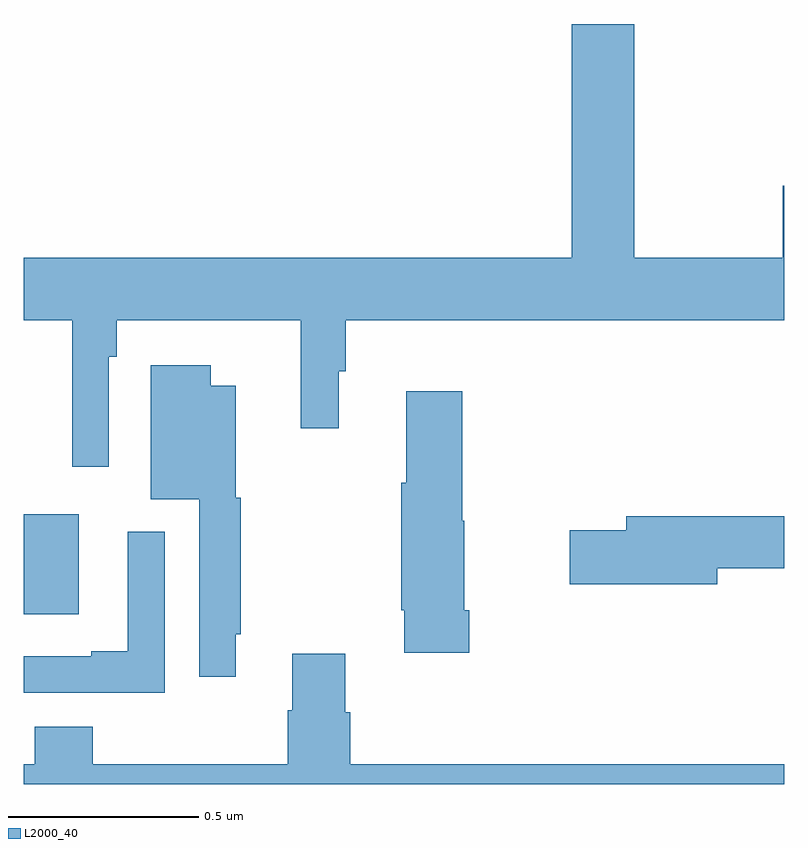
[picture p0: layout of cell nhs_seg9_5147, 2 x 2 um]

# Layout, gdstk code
import gdstk
lib = gdstk.Library(unit=1e-6, precision=1e-09)
def R(c, l, rs):  # rectangles x0, y0, x1, y1
    for r in rs: c.add(gdstk.rectangle(r[:2], r[2:], *l))
def P(c, l, *ps):  # polygons
    for p in ps: c.add(gdstk.Polygon(p, *l))
L2000_40 = (2000, 40)

nhs_seg9_5147 = lib.new_cell('nhs_seg9_5147')
R(nhs_seg9_5147, L2000_40, [(175,1228.946,175.144,1229.209)])
P(nhs_seg9_5147, L2000_40, [(175.224,1229.624),(175.244,1229.624),(175.244,1229.72),(175.729,1229.72),(175.729,1229.436),(175.828,1229.436),(175.828,1229.586),(175.847,1229.586),(175.847,1229.72),(177,1229.72),(177,1230.073),(176.996,1230.073),(176.996,1229.884),(176.605,1229.884),(176.605,1230.499),(176.441,1230.499),(176.441,1229.884),(175,1229.884),(175,1229.72),(175.127,1229.72),(175.127,1229.334),(175.224,1229.334)],
  [(175.558,1228.894),(175.57,1228.894),(175.57,1229.253),(175.558,1229.253),(175.558,1229.548),(175.492,1229.548),(175.492,1229.602),(175.334,1229.602),(175.334,1229.249),(175.461,1229.249),(175.461,1228.782),(175.558,1228.782)],
  [(176.171,1228.957),(176.158,1228.957),(176.158,1229.193),(176.153,1229.193),(176.153,1229.533),(176.006,1229.533),(176.006,1229.293),(175.993,1229.293),(175.993,1228.957),(176,1228.957),(176,1228.845),(176.171,1228.845)],
  [(176.824,1229.068),(177,1229.068),(177,1229.204),(176.585,1229.204),(176.585,1229.168),(176.436,1229.168),(176.436,1229.026),(176.824,1229.026)],
  [(175.371,1229.164),(175.274,1229.164),(175.274,1228.849),(175.178,1228.849),(175.178,1228.836),(175,1228.836),(175,1228.74),(175.371,1228.74)],
  [(177,1228.552),(175.859,1228.552),(175.859,1228.689),(175.846,1228.689),(175.846,1228.843),(175.706,1228.843),(175.706,1228.694),(175.694,1228.694),(175.694,1228.552),(175.181,1228.552),(175.181,1228.65),(175.029,1228.65),(175.029,1228.552),(175,1228.552),(175,1228.5),(177,1228.5)])

lib.write_gds('nhs_seg9_5147.gds')
